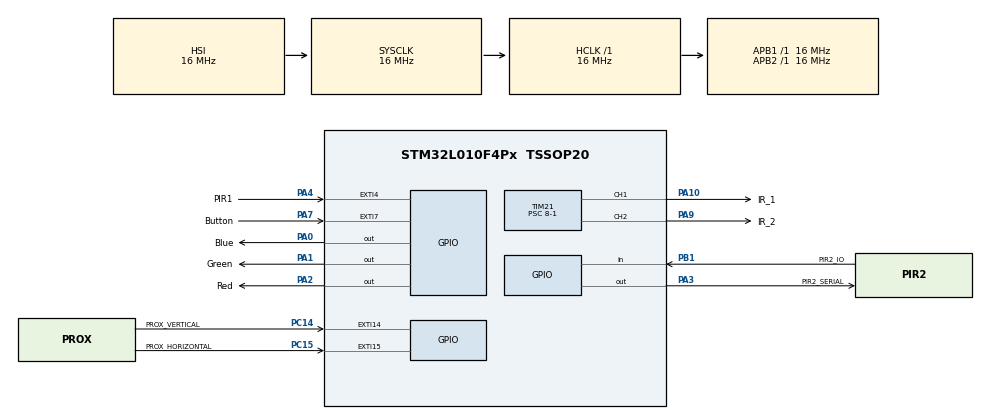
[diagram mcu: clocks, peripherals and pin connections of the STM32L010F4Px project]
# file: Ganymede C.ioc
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Mcu.Family=STM32L0
Mcu.Name=STM32L010F4Px
Mcu.Package=TSSOP20
NVIC.EXTI4_15_IRQn=true\:0\:0\:true\:false\:true\:true\:true\:true
NVIC.TIM2_IRQn=true\:0\:0\:false\:false\:true\:true\:true\:true
PA0-CK_IN.GPIO_Label=Blue
PA0-CK_IN.Signal=GPIO_Output
PA1.GPIO_Label=Green
PA1.PinState=GPIO_PIN_SET
PA1.Signal=GPIO_Output
PA10.GPIO_Label=IR_1
PA10.Signal=S_TIM21_CH1
PA13.Mode=Serial_Wire
PA13.Signal=SYS_SWDIO
PA14.Mode=Serial_Wire
PA14.Signal=SYS_SWCLK
PA2.GPIO_Label=Red
PA2.Signal=GPIO_Output
PA3.GPIO_Label=PIR2_SERIAL\\
PA3.GPIO_Speed=GPIO_SPEED_FREQ_LOW
PA3.PinState=GPIO_PIN_RESET
PA3.Signal=GPIO_Output
PA4.GPIO_Label=PIR1
PA4.GPIO_ModeDefaultEXTI=GPIO_MODE_IT_RISING
PA4.Signal=GPXTI4
PA7.GPIO_Label=Button
PA7.GPIO_ModeDefaultEXTI=GPIO_MODE_IT_RISING_FALLING
PA7.Signal=GPXTI7
PA9.GPIO_Label=IR_2
PA9.Signal=S_TIM21_CH2
PB1.GPIO_Label=PIR2_IO
PB1.Signal=GPIO_Input
PC14-OSC32_IN.GPIO_Label=PROX_VERTICAL
PC14-OSC32_IN.GPIO_ModeDefaultEXTI=GPIO_MODE_IT_RISING
PC14-OSC32_IN.Signal=GPXTI14
PC15-OSC32_OUT.GPIO_Label=PROX_HORIZONTAL
PC15-OSC32_OUT.GPIO_ModeDefaultEXTI=GPIO_MODE_IT_RISING
PC15-OSC32_OUT.Signal=GPXTI15
ProjectManager.HeapSize=0x200
ProjectManager.StackSize=0x400
ProjectManager.TargetToolchain=STM32CubeIDE
RCC.AHBFreq_Value=16000000
RCC.APB1Freq_Value=16000000
RCC.APB1TimFreq_Value=16000000
RCC.APB2Freq_Value=16000000
RCC.APB2TimFreq_Value=16000000
RCC.HCLKFreq_Value=16000000
RCC.HSE_VALUE=8000000
RCC.HSI16_VALUE=16000000
RCC.HSI_VALUE=16000000
RCC.LSE_VALUE=32768
RCC.MSI_VALUE=2097000
RCC.SYSCLKFreq_VALUE=16000000
RCC.SYSCLKSource=RCC_SYSCLKSOURCE_HSI
RCC.VCOOutputFreq_Value=48000000
SH.S_TIM21_CH1.0=TIM21_CH1,PWM Generation1 CH1
SH.S_TIM21_CH2.0=TIM21_CH2,PWM Generation2 CH2
TIM2.AutoReloadPreload=TIM_AUTORELOAD_PRELOAD_ENABLE
TIM2.Period=1000-1
TIM2.Prescaler=64000-1
TIM21.AutoReloadPreload=TIM_AUTORELOAD_PRELOAD_ENABLE
TIM21.Channel-PWM\ Generation1\ CH1=TIM_CHANNEL_1
TIM21.Channel-PWM\ Generation2\ CH2=TIM_CHANNEL_2
TIM21.Period=36-1
TIM21.Prescaler=8-1
VP_TIM21_VS_ClockSourceINT.Mode=Internal
VP_TIM2_VS_ClockSourceINT.Mode=Internal
board=custom

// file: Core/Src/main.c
/* USER CODE BEGIN Header */
/**
  ******************************************************************************
  * @file           : main.c
  * @brief          : Main program body
  ******************************************************************************
  * @attention
  *
  * Copyright (c) 2023 STMicroelectronics.
  * All rights reserved.
  *
  * This software is licensed under terms that can be found in the LICENSE file
  * in the root directory of this software component.
  * If no LICENSE file comes with this software, it is provided AS-IS.
  *
  ******************************************************************************
  */
/* USER CODE END Header */
#include "main.h"

/* USER CODE BEGIN Includes */
#include "control.h"
/* USER CODE END Includes */

TIM_HandleTypeDef htim2;
TIM_HandleTypeDef htim21;

/* USER CODE BEGIN PV */
uint8_t PA04_flag = 0;
uint8_t HBit,VBit;
unsigned char count = 0;
//uint8_t i;
/* USER CODE END PV */

void SystemClock_Config(void);
static void MX_GPIO_Init(void);
static void MX_TIM2_Init(void);
static void MX_TIM21_Init(void);

int main(void)
{

  /* MCU Configuration--------------------------------------------------------*/

  /* Reset of all peripherals, Initializes the Flash interface and the Systick. */
  HAL_Init();

  /* Configure the system clock */
  SystemClock_Config();

  /* Initialize all configured peripherals */
  MX_GPIO_Init();
  MX_TIM2_Init();
  MX_TIM21_Init();
  /* USER CODE BEGIN 2 */
    HAL_GPIO_WritePin(GPIOA, GPIO_PIN_0, GPIO_PIN_RESET);
    HAL_GPIO_WritePin(GPIOA, GPIO_PIN_1, GPIO_PIN_RESET);
    HAL_GPIO_WritePin(GPIOA, GPIO_PIN_2, GPIO_PIN_RESET);
    //uint32_t pwmValues[] = {0, 5, 10, 15, 20, 25, 30, 35,40,45,50,55,60,65,70,75,80,85,90,95,100,100, 95, 90, 85, 80, 75, 70, 65, 60, 55, 50, 45, 40, 35, 30, 25, 20, 15, 10, 5, 0 };
    //uint32_t PIRVals[] = {5000,0,5000,0,5000,5000,0,5000,0,5000};

    HAL_TIM_PWM_Start(&htim21, TIM_CHANNEL_1);
    HAL_TIM_PWM_Start(&htim21, TIM_CHANNEL_2);
    //HAL_TIM_Base_Start_IT(&htim2);
    //TIM2 -> CCR3 = 18;
    //HAL_TIM_PWM_Start(&htim2, TIM_CHANNEL_1);
/*    TIM21 -> CCR2 = 5000;
    TIM21 -> CCR2 = 0;
    TIM21 -> CCR2 = 5000;
    TIM21 -> CCR2 = 0;
    TIM21 -> CCR2 = 5000;*/
    //HAL_TIM_PWM_Start_DMA(&htim2, TIM_CHANNEL_1, (uint32_t *)pwmValues, 40);
    //HAL_TIM_PWM_Start_DMA(&htim2, TIM_CHANNEL_4, (uint32_t *)PIRVals, 10);
    //HAL_Delay(5000);
   // SetPinB1ToOutput();
   /// HAL_GPIO_WritePin(GPIOA, PIR2_IO_Pin, GPIO_PIN_RESET);
    HAL_Delay(1000);

/*    SetPinB1ToOutput();
    HAL_GPIO_WritePin(GPIOA, PIR2_IO_Pin, GPIO_PIN_RESET);
    HAL_Delay(1000);*/
    //SetPinB1ToInput();
    //setPIR2();
   /* SetPinB1ToOutput();
    HAL_GPIO_WritePin(GPIOA, PIR2_IO_Pin, GPIO_PIN_RESET);
    HAL_Delay(1);
    HAL_GPIO_WritePin(GPIOA, PIR2_IO_Pin, GPIO_PIN_SET);
    HAL_Delay(1);
    SetPinB1ToInput();*/

  /* USER CODE END 2 */

  /* Infinite loop */
  /* USER CODE BEGIN WHILE */
  while (1)
  {               //beginIRScan();
	  	  	  	  TIM21-> CCR1 = 18;
	  		  	  HAL_Delay(500);
	  		  	  TIM21 -> CCR1 = 0;
	  		  	  HAL_Delay(500);
	  		  	  TIM21 -> CCR2 = 18;
	  		  	  HAL_Delay(500);
	  		  	  TIM21 -> CCR2 = 0;
	  		  	  HAL_Delay(500);
	  	 /* TIM21 -> CCR2 = 10;
	  	  //HAL_GPIO_WritePin(GPIOA, GPIO_PIN_0, GPIO_PIN_SET);
	  	  HAL_Delay(1000);
	  	  TIM2 -> CCR3 = 0;
	  	  TIM21 -> CCR2 = 0;
	  	  HAL_GPIO_WritePin(GPIOA, GPIO_PIN_0, GPIO_PIN_RESET);
	  	  HAL_Delay(1000);*/
	/*  HAL_GPIO_WritePin(GPIOA, GPIO_PIN_0, GPIO_PIN_SET);
	  HAL_Delay(500);
	  HAL_GPIO_WritePin(GPIOA, GPIO_PIN_0, GPIO_PIN_RESET);
	  HAL_Delay(500);

	  HAL_GPIO_WritePin(GPIOA, GPIO_PIN_1, GPIO_PIN_SET);
	  HAL_Delay(500);
	  HAL_GPIO_WritePin(GPIOA, GPIO_PIN_1, GPIO_PIN_RESET);
	  HAL_Delay(500);

	  HAL_GPIO_WritePin(GPIOA, GPIO_PIN_2, GPIO_PIN_SET);
	  HAL_Delay(500);
	  HAL_GPIO_WritePin(GPIOA, GPIO_PIN_2, GPIO_PIN_RESET);
	  HAL_Delay(500);*/
    /* USER CODE END WHILE */

  }
}

void SystemClock_Config(void)
{
  RCC_OscInitTypeDef RCC_OscInitStruct = {0};
  RCC_ClkInitTypeDef RCC_ClkInitStruct = {0};

  /** Configure the main internal regulator output voltage
  */
  __HAL_PWR_VOLTAGESCALING_CONFIG(PWR_REGULATOR_VOLTAGE_SCALE1);

  /** Initializes the RCC Oscillators according to the specified parameters
  * in the RCC_OscInitTypeDef structure.
  */
  RCC_OscInitStruct.OscillatorType = RCC_OSCILLATORTYPE_HSI;
  RCC_OscInitStruct.HSIState = RCC_HSI_ON;
  RCC_OscInitStruct.HSICalibrationValue = RCC_HSICALIBRATION_DEFAULT;
  RCC_OscInitStruct.PLL.PLLState = RCC_PLL_NONE;
  if (HAL_RCC_OscConfig(&RCC_OscInitStruct) != HAL_OK)
  {
    Error_Handler();
  }

  /** Initializes the CPU, AHB and APB buses clocks
  */
  RCC_ClkInitStruct.ClockType = RCC_CLOCKTYPE_HCLK|RCC_CLOCKTYPE_SYSCLK
                              |RCC_CLOCKTYPE_PCLK1|RCC_CLOCKTYPE_PCLK2;
  RCC_ClkInitStruct.SYSCLKSource = RCC_SYSCLKSOURCE_HSI;
  RCC_ClkInitStruct.AHBCLKDivider = RCC_SYSCLK_DIV1;
  RCC_ClkInitStruct.APB1CLKDivider = RCC_HCLK_DIV1;
  RCC_ClkInitStruct.APB2CLKDivider = RCC_HCLK_DIV1;

  if (HAL_RCC_ClockConfig(&RCC_ClkInitStruct, FLASH_LATENCY_0) != HAL_OK)
  {
    Error_Handler();
  }
}

static void MX_TIM2_Init(void)
{

  TIM_ClockConfigTypeDef sClockSourceConfig = {0};
  TIM_MasterConfigTypeDef sMasterConfig = {0};

  htim2.Instance = TIM2;
  htim2.Init.Prescaler = 64000-1;
  htim2.Init.CounterMode = TIM_COUNTERMODE_UP;
  htim2.Init.Period = 1000-1;
  htim2.Init.ClockDivision = TIM_CLOCKDIVISION_DIV1;
  htim2.Init.AutoReloadPreload = TIM_AUTORELOAD_PRELOAD_ENABLE;
  if (HAL_TIM_Base_Init(&htim2) != HAL_OK)
  {
    Error_Handler();
  }
  sClockSourceConfig.ClockSource = TIM_CLOCKSOURCE_INTERNAL;
  if (HAL_TIM_ConfigClockSource(&htim2, &sClockSourceConfig) != HAL_OK)
  {
    Error_Handler();
  }
  sMasterConfig.MasterOutputTrigger = TIM_TRGO_RESET;
  sMasterConfig.MasterSlaveMode = TIM_MASTERSLAVEMODE_DISABLE;
  if (HAL_TIMEx_MasterConfigSynchronization(&htim2, &sMasterConfig) != HAL_OK)
  {
    Error_Handler();
  }

}

static void MX_TIM21_Init(void)
{

  TIM_ClockConfigTypeDef sClockSourceConfig = {0};
  TIM_MasterConfigTypeDef sMasterConfig = {0};
  TIM_OC_InitTypeDef sConfigOC = {0};

  htim21.Instance = TIM21;
  htim21.Init.Prescaler = 8-1;
  htim21.Init.CounterMode = TIM_COUNTERMODE_UP;
  htim21.Init.Period = 36-1;
  htim21.Init.ClockDivision = TIM_CLOCKDIVISION_DIV1;
  htim21.Init.AutoReloadPreload = TIM_AUTORELOAD_PRELOAD_ENABLE;
  if (HAL_TIM_Base_Init(&htim21) != HAL_OK)
  {
    Error_Handler();
  }
  sClockSourceConfig.ClockSource = TIM_CLOCKSOURCE_INTERNAL;
  if (HAL_TIM_ConfigClockSource(&htim21, &sClockSourceConfig) != HAL_OK)
  {
    Error_Handler();
  }
  if (HAL_TIM_PWM_Init(&htim21) != HAL_OK)
  {
    Error_Handler();
  }
  sMasterConfig.MasterOutputTrigger = TIM_TRGO_RESET;
  sMasterConfig.MasterSlaveMode = TIM_MASTERSLAVEMODE_DISABLE;
  if (HAL_TIMEx_MasterConfigSynchronization(&htim21, &sMasterConfig) != HAL_OK)
  {
    Error_Handler();
  }
  sConfigOC.OCMode = TIM_OCMODE_PWM1;
  sConfigOC.Pulse = 0;
  sConfigOC.OCPolarity = TIM_OCPOLARITY_HIGH;
  sConfigOC.OCFastMode = TIM_OCFAST_DISABLE;
  if (HAL_TIM_PWM_ConfigChannel(&htim21, &sConfigOC, TIM_CHANNEL_1) != HAL_OK)
  {
    Error_Handler();
  }
  if (HAL_TIM_PWM_ConfigChannel(&htim21, &sConfigOC, TIM_CHANNEL_2) != HAL_OK)
  {
    Error_Handler();
  }
  HAL_TIM_MspPostInit(&htim21);

}

static void MX_GPIO_Init(void)
{
  GPIO_InitTypeDef GPIO_InitStruct = {0};

  /* GPIO Ports Clock Enable */
  __HAL_RCC_GPIOC_CLK_ENABLE();
  __HAL_RCC_GPIOA_CLK_ENABLE();
  __HAL_RCC_GPIOB_CLK_ENABLE();

  /*Configure GPIO pin Output Level */
  HAL_GPIO_WritePin(GPIOA, Blue_Pin|Red_Pin|PIR2_SERIAL__Pin, GPIO_PIN_RESET);

  /*Configure GPIO pin Output Level */
  HAL_GPIO_WritePin(Green_GPIO_Port, Green_Pin, GPIO_PIN_SET);

  /*Configure GPIO pins : PROX_VERTICAL_Pin PROX_HORIZONTAL_Pin */
  GPIO_InitStruct.Pin = PROX_VERTICAL_Pin|PROX_HORIZONTAL_Pin;
  GPIO_InitStruct.Mode = GPIO_MODE_IT_RISING;
  GPIO_InitStruct.Pull = GPIO_NOPULL;
  HAL_GPIO_Init(GPIOC, &GPIO_InitStruct);

  /*Configure GPIO pins : Blue_Pin Green_Pin Red_Pin PIR2_SERIAL__Pin */
  GPIO_InitStruct.Pin = Blue_Pin|Green_Pin|Red_Pin|PIR2_SERIAL__Pin;
  GPIO_InitStruct.Mode = GPIO_MODE_OUTPUT_PP;
  GPIO_InitStruct.Pull = GPIO_NOPULL;
  GPIO_InitStruct.Speed = GPIO_SPEED_FREQ_LOW;
  HAL_GPIO_Init(GPIOA, &GPIO_InitStruct);

  /*Configure GPIO pin : PIR1_Pin */
  GPIO_InitStruct.Pin = PIR1_Pin;
  GPIO_InitStruct.Mode = GPIO_MODE_IT_RISING;
  GPIO_InitStruct.Pull = GPIO_NOPULL;
  HAL_GPIO_Init(PIR1_GPIO_Port, &GPIO_InitStruct);

  /*Configure GPIO pin : Button_Pin */
  GPIO_InitStruct.Pin = Button_Pin;
  GPIO_InitStruct.Mode = GPIO_MODE_IT_RISING_FALLING;
  GPIO_InitStruct.Pull = GPIO_NOPULL;
  HAL_GPIO_Init(Button_GPIO_Port, &GPIO_InitStruct);

  /*Configure GPIO pin : PIR2_IO_Pin */
  GPIO_InitStruct.Pin = PIR2_IO_Pin;
  GPIO_InitStruct.Mode = GPIO_MODE_INPUT;
  GPIO_InitStruct.Pull = GPIO_NOPULL;
  HAL_GPIO_Init(PIR2_IO_GPIO_Port, &GPIO_InitStruct);

  /* EXTI interrupt init*/
  HAL_NVIC_SetPriority(EXTI4_15_IRQn, 0, 0);
  HAL_NVIC_EnableIRQ(EXTI4_15_IRQn);

}

/* USER CODE BEGIN 4 */

void SetPinB1ToOutput(void)
  {
	  GPIO_InitTypeDef GPIO_InitStruct = {0};
	  GPIO_InitStruct.Pin = PIR2_IO_Pin;
	  GPIO_InitStruct.Mode = GPIO_MODE_OUTPUT_PP;
	  GPIO_InitStruct.Pull = GPIO_NOPULL;
	  GPIO_InitStruct.Speed = GPIO_SPEED_FREQ_LOW;
	  HAL_GPIO_Init(GPIOB, &GPIO_InitStruct);
	 // return(0);
  }

void SetPinB1ToInput(void)
  {
	  GPIO_InitTypeDef GPIO_InitStruct = {0};
	  GPIO_InitStruct.Pin = PIR2_IO_Pin;
	  GPIO_InitStruct.Mode = GPIO_MODE_INPUT;
	  GPIO_InitStruct.Pull = GPIO_NOPULL;
	  HAL_GPIO_Init(PIR2_IO_GPIO_Port, &GPIO_InitStruct);
  }

/*void HAL_GPIO_EXTI_Callback(uint16_t GPIO_Pin)
  {
    //sense2 = 1;
      if(GPIO_Pin == PIR1_Pin)// If The INT Source Is EXTI Line9 (A9 Pin)
      {
    	  HAL_GPIO_TogglePin(GPIOA, Red_Pin); // Toggle The Output (LED) Pin, have it call a timer
      //sense1 = 1;

      }

      else if((PB00_flag & 0x00) ==0x01  ) // If The INT Source Is EXTI Line9 (A9 Pin)
            {
            HAL_GPIO_TogglePin(GPIOA, RED1_Pin); // Toggle The Output (LED) Pin
            sense2 = 1;
            }

      //triggered(sense1,sense2);
  }*/

//// Interrupts

void HAL_GPIO_EXTI_Callback(uint16_t GPIO_Pin)
  {

      if(GPIO_Pin == PROX_VERTICAL_Pin)// If The INT Source Is EXTI Line9 (A9 Pin)
      {
    	  //HAL_GPIO_TogglePin(GPIOA, Red_Pin); // Toggle The Output (LED) Pin, have it call a timer
    	 // HAL_GPIO_WritePin(GPIOA, Green_Pin, GPIO_PIN_SET);
    	  //HAL_GPIO_WritePin(GPIOA, Red_Pin, GPIO_PIN_RESET);
    	  //HAL_Delay(500);
    	  //HAL_GPIO_WritePin(GPIOA, Green_Pin, GPIO_PIN_RESET);

    	  //RoomEmpty();

    	  VBit = 1;
      }

      if (GPIO_Pin == PROX_HORIZONTAL_Pin)
      {
    	  //HAL_GPIO_WritePin(GPIOA, Red_Pin, GPIO_PIN_SET);
    	  //HAL_GPIO_WritePin(GPIOA, Green_Pin, GPIO_PIN_RESET);

    	  //HAL_GPIO_WritePin(GPIOA, Red_Pin, GPIO_PIN_RESET);
    	  //HAL_GPIO_TogglePin(GPIOA, Green_Pin);
    	//TIM2->CNT = 0;
    	//RoomFull();

    	  HBit = 1;
      }

      if (GPIO_Pin == PIR1_Pin)
            {
          	    //HAL_GPIO_TogglePin(GPIOA, Green_Pin);
          	  //HAL_TIM_Base_Stop_IT(&htim2);
          	  //HAL_TIM_Base_Start_IT(&htim2);
    	        //HAL_GPIO_TogglePin(GPIOA,Red_Pin);

    	  	  	 HAL_GPIO_TogglePin(GPIOA,Red_Pin);
    	  	  	 HAL_TIM_Base_Start_IT(&htim2);

            }
  }

void HAL_TIM_PeriodElapsedCallback(TIM_HandleTypeDef *htim)
{

	//determineOccu();

	HAL_TIM_Base_Stop(&htim2);
	__HAL_TIM_SET_COUNTER(&htim2, 1); // change counter timeout

	if (htim->Instance == TIM2) { // Replace TIMx with your timer instance, e.g., TIM2
	        // Clear the timer's interrupt flag to prevent re-entering this ISR due to the same event
	        __HAL_TIM_CLEAR_IT(htim, TIM_IT_UPDATE);

	        // Optionally reset the counter if needed (not always necessary if auto-reload is used)
	        //__HAL_TIM_SET_COUNTER(htim, 0);

	        // Here, you can add your code to handle what should happen at each timer interrupt
	        HAL_GPIO_TogglePin(GPIOA,Green_Pin);

	        // No explicit restart needed if the timer is configured in auto-reload mode (default for most basic timers)
	    }

//HAL_GPIO_TogglePin(GPIOA, Green_Pin);
/*	  HAL_GPIO_TogglePin(GPIOA,Red_Pin);
	  HAL_GPIO_TogglePin(GPIOA, Green_Pin);*/
	/*count += 1;

	if (count == 2)
	{
		//HAL_TIM_Base_Stop_IT(&htim2);
		count = 0;
	}*/
	//HAL_GPIO_TogglePin(GPIOA, Green_Pin);
}

/* USER CODE END 4 */

void Error_Handler(void)
{
  __disable_irq();
  while (1)
  {
  }
}
